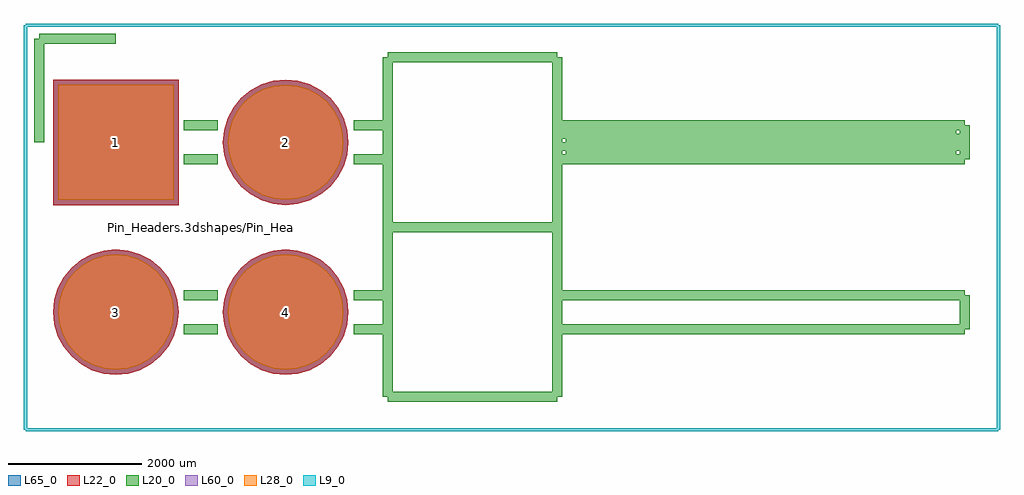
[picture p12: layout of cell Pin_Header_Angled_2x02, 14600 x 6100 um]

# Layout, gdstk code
import gdstk
lib = gdstk.Library(unit=1e-6, precision=1e-09)
def R(c, l, rs):  # rectangles x0, y0, x1, y1
    for r in rs: c.add(gdstk.rectangle(r[:2], r[2:], *l))
def P(c, l, *ps):  # polygons
    for p in ps: c.add(gdstk.Polygon(p, *l))
L9_0 = (9, 0)
L20_0 = (20, 0)
L22_0 = (22, 0)
L28_0 = (28, 0)
L60_0 = (60, 0)
L65_0 = (65, 0)

pin_header_angled_2x02 = lib.new_cell('Pin_Header_Angled_2x02')
R(pin_header_angled_2x02, L22_0, [(-938.6,-938.6,938.6,938.6)])
P(pin_header_angled_2x02, L22_0, [(3478.6,-2540),(3460.565,-2356.888),(3407.153,-2180.813),(3320.417,-2018.542),(3203.69,-1876.31),(3061.458,-1759.583),(2899.187,-1672.847),(2723.112,-1619.435),(2540,-1601.4),(2356.888,-1619.435),(2180.813,-1672.847),(2018.542,-1759.583),(1876.31,-1876.31),(1759.583,-2018.542),(1672.847,-2180.813),(1619.435,-2356.888),(1601.4,-2540),(1619.435,-2723.112),(1672.847,-2899.187),(1759.583,-3061.458),(1876.31,-3203.69),(2018.542,-3320.417),(2180.813,-3407.153),(2356.888,-3460.565),(2540,-3478.6),(2723.112,-3460.565),(2899.187,-3407.153),(3061.458,-3320.417),(3203.69,-3203.69),(3320.417,-3061.458),(3407.153,-2899.187),(3460.565,-2723.112)],
  [(938.6,-2540),(920.565,-2356.888),(867.153,-2180.813),(780.417,-2018.542),(663.69,-1876.31),(521.458,-1759.583),(359.187,-1672.847),(183.112,-1619.435),(0,-1601.4),(-183.112,-1619.435),(-359.187,-1672.847),(-521.458,-1759.583),(-663.69,-1876.31),(-780.417,-2018.542),(-867.153,-2180.813),(-920.565,-2356.888),(-938.6,-2540),(-920.565,-2723.112),(-867.153,-2899.187),(-780.417,-3061.458),(-663.69,-3203.69),(-521.458,-3320.417),(-359.187,-3407.153),(-183.112,-3460.565),(0,-3478.6),(183.112,-3460.565),(359.187,-3407.153),(521.458,-3320.417),(663.69,-3203.69),(780.417,-3061.458),(867.153,-2899.187),(920.565,-2723.112)],
  [(3478.6,0),(3460.565,183.112),(3407.153,359.187),(3320.417,521.458),(3203.69,663.69),(3061.458,780.417),(2899.187,867.153),(2723.112,920.565),(2540,938.6),(2356.888,920.565),(2180.813,867.153),(2018.542,780.417),(1876.31,663.69),(1759.583,521.458),(1672.847,359.187),(1619.435,183.112),(1601.4,0),(1619.435,-183.112),(1672.847,-359.187),(1759.583,-521.458),(1876.31,-663.69),(2018.542,-780.417),(2180.813,-867.153),(2356.888,-920.565),(2540,-938.6),(2723.112,-920.565),(2899.187,-867.153),(3061.458,-780.417),(3203.69,-663.69),(3320.417,-521.458),(3407.153,-359.187),(3460.565,-183.112)])
R(pin_header_angled_2x02, L28_0, [(-863.6,-863.6,863.6,863.6)])
P(pin_header_angled_2x02, L28_0, [(3403.6,-2540),(3387.006,-2371.52),(3337.862,-2209.515),(3258.057,-2060.21),(3150.657,-1929.343),(3019.79,-1821.943),(2870.485,-1742.138),(2708.48,-1692.994),(2540,-1676.4),(2371.52,-1692.994),(2209.515,-1742.138),(2060.21,-1821.943),(1929.343,-1929.343),(1821.943,-2060.21),(1742.138,-2209.515),(1692.994,-2371.52),(1676.4,-2540),(1692.994,-2708.48),(1742.138,-2870.485),(1821.943,-3019.79),(1929.343,-3150.657),(2060.21,-3258.057),(2209.515,-3337.862),(2371.52,-3387.006),(2540,-3403.6),(2708.48,-3387.006),(2870.485,-3337.862),(3019.79,-3258.057),(3150.657,-3150.657),(3258.057,-3019.79),(3337.862,-2870.485),(3387.006,-2708.48)],
  [(863.6,-2540),(847.006,-2371.52),(797.862,-2209.515),(718.057,-2060.21),(610.657,-1929.343),(479.79,-1821.943),(330.485,-1742.138),(168.48,-1692.994),(0,-1676.4),(-168.48,-1692.994),(-330.485,-1742.138),(-479.79,-1821.943),(-610.657,-1929.343),(-718.057,-2060.21),(-797.862,-2209.515),(-847.006,-2371.52),(-863.6,-2540),(-847.006,-2708.48),(-797.862,-2870.485),(-718.057,-3019.79),(-610.657,-3150.657),(-479.79,-3258.057),(-330.485,-3337.862),(-168.48,-3387.006),(0,-3403.6),(168.48,-3387.006),(330.485,-3337.862),(479.79,-3258.057),(610.657,-3150.657),(718.057,-3019.79),(797.862,-2870.485),(847.006,-2708.48)],
  [(3403.6,0),(3387.006,168.48),(3337.862,330.485),(3258.057,479.79),(3150.657,610.657),(3019.79,718.057),(2870.485,797.862),(2708.48,847.006),(2540,863.6),(2371.52,847.006),(2209.515,797.862),(2060.21,718.057),(1929.343,610.657),(1821.943,479.79),(1742.138,330.485),(1692.994,168.48),(1676.4,0),(1692.994,-168.48),(1742.138,-330.485),(1821.943,-479.79),(1929.343,-610.657),(2060.21,-718.057),(2209.515,-797.862),(2371.52,-847.006),(2540,-863.6),(2708.48,-847.006),(2870.485,-797.862),(3019.79,-718.057),(3150.657,-610.657),(3258.057,-479.79),(3337.862,-330.485),(3387.006,-168.48)])
R(pin_header_angled_2x02, L60_0, [(-863.6,-863.6,863.6,863.6)])
P(pin_header_angled_2x02, L60_0, [(3403.6,-2540),(3387.006,-2371.52),(3337.862,-2209.515),(3258.057,-2060.21),(3150.657,-1929.343),(3019.79,-1821.943),(2870.485,-1742.138),(2708.48,-1692.994),(2540,-1676.4),(2371.52,-1692.994),(2209.515,-1742.138),(2060.21,-1821.943),(1929.343,-1929.343),(1821.943,-2060.21),(1742.138,-2209.515),(1692.994,-2371.52),(1676.4,-2540),(1692.994,-2708.48),(1742.138,-2870.485),(1821.943,-3019.79),(1929.343,-3150.657),(2060.21,-3258.057),(2209.515,-3337.862),(2371.52,-3387.006),(2540,-3403.6),(2708.48,-3387.006),(2870.485,-3337.862),(3019.79,-3258.057),(3150.657,-3150.657),(3258.057,-3019.79),(3337.862,-2870.485),(3387.006,-2708.48)],
  [(863.6,-2540),(847.006,-2371.52),(797.862,-2209.515),(718.057,-2060.21),(610.657,-1929.343),(479.79,-1821.943),(330.485,-1742.138),(168.48,-1692.994),(0,-1676.4),(-168.48,-1692.994),(-330.485,-1742.138),(-479.79,-1821.943),(-610.657,-1929.343),(-718.057,-2060.21),(-797.862,-2209.515),(-847.006,-2371.52),(-863.6,-2540),(-847.006,-2708.48),(-797.862,-2870.485),(-718.057,-3019.79),(-610.657,-3150.657),(-479.79,-3258.057),(-330.485,-3337.862),(-168.48,-3387.006),(0,-3403.6),(168.48,-3387.006),(330.485,-3337.862),(479.79,-3258.057),(610.657,-3150.657),(718.057,-3019.79),(797.862,-2870.485),(847.006,-2708.48)],
  [(3403.6,0),(3387.006,168.48),(3337.862,330.485),(3258.057,479.79),(3150.657,610.657),(3019.79,718.057),(2870.485,797.862),(2708.48,847.006),(2540,863.6),(2371.52,847.006),(2209.515,797.862),(2060.21,718.057),(1929.343,610.657),(1821.943,479.79),(1742.138,330.485),(1692.994,168.48),(1676.4,0),(1692.994,-168.48),(1742.138,-330.485),(1821.943,-479.79),(1929.343,-610.657),(2060.21,-718.057),(2209.515,-797.862),(2371.52,-847.006),(2540,-863.6),(2708.48,-847.006),(2870.485,-797.862),(3019.79,-718.057),(3150.657,-610.657),(3258.057,-479.79),(3337.862,-330.485),(3387.006,-168.48)])
R(pin_header_angled_2x02, L65_0, [(-938.6,-938.6,938.6,938.6)])
P(pin_header_angled_2x02, L65_0, [(3478.6,-2540),(3460.565,-2356.888),(3407.153,-2180.813),(3320.417,-2018.542),(3203.69,-1876.31),(3061.458,-1759.583),(2899.187,-1672.847),(2723.112,-1619.435),(2540,-1601.4),(2356.888,-1619.435),(2180.813,-1672.847),(2018.542,-1759.583),(1876.31,-1876.31),(1759.583,-2018.542),(1672.847,-2180.813),(1619.435,-2356.888),(1601.4,-2540),(1619.435,-2723.112),(1672.847,-2899.187),(1759.583,-3061.458),(1876.31,-3203.69),(2018.542,-3320.417),(2180.813,-3407.153),(2356.888,-3460.565),(2540,-3478.6),(2723.112,-3460.565),(2899.187,-3407.153),(3061.458,-3320.417),(3203.69,-3203.69),(3320.417,-3061.458),(3407.153,-2899.187),(3460.565,-2723.112)],
  [(938.6,-2540),(920.565,-2356.888),(867.153,-2180.813),(780.417,-2018.542),(663.69,-1876.31),(521.458,-1759.583),(359.187,-1672.847),(183.112,-1619.435),(0,-1601.4),(-183.112,-1619.435),(-359.187,-1672.847),(-521.458,-1759.583),(-663.69,-1876.31),(-780.417,-2018.542),(-867.153,-2180.813),(-920.565,-2356.888),(-938.6,-2540),(-920.565,-2723.112),(-867.153,-2899.187),(-780.417,-3061.458),(-663.69,-3203.69),(-521.458,-3320.417),(-359.187,-3407.153),(-183.112,-3460.565),(0,-3478.6),(183.112,-3460.565),(359.187,-3407.153),(521.458,-3320.417),(663.69,-3203.69),(780.417,-3061.458),(867.153,-2899.187),(920.565,-2723.112)],
  [(3478.6,0),(3460.565,183.112),(3407.153,359.187),(3320.417,521.458),(3203.69,663.69),(3061.458,780.417),(2899.187,867.153),(2723.112,920.565),(2540,938.6),(2356.888,920.565),(2180.813,867.153),(2018.542,780.417),(1876.31,663.69),(1759.583,521.458),(1672.847,359.187),(1619.435,183.112),(1601.4,0),(1619.435,-183.112),(1672.847,-359.187),(1759.583,-521.458),(1876.31,-663.69),(2018.542,-780.417),(2180.813,-867.153),(2356.888,-920.565),(2540,-938.6),(2723.112,-920.565),(2899.187,-867.153),(3061.458,-780.417),(3203.69,-663.69),(3320.417,-521.458),(3407.153,-359.187),(3460.565,-183.112)])
pin_header_angled_2x02.add(gdstk.FlexPath([(4064,1270),(6604,1270)], 149.998, ends="flush", simple_path=True, layer=20, datatype=0))  # L20_0
pin_header_angled_2x02.add(gdstk.FlexPath([(4064,1270),(4064,-1270)], 149.998, ends="flush", simple_path=True, layer=20, datatype=0))  # L20_0
pin_header_angled_2x02.add(gdstk.FlexPath([(4064,-1270),(6604,-1270)], 149.998, ends="flush", simple_path=True, layer=20, datatype=0))  # L20_0
pin_header_angled_2x02.add(gdstk.FlexPath([(6604,254),(12700,254)], 149.998, ends="flush", simple_path=True, layer=20, datatype=0))  # L20_0
pin_header_angled_2x02.add(gdstk.FlexPath([(12700,254),(12700,-254)], 149.998, ends="flush", simple_path=True, layer=20, datatype=0))  # L20_0
pin_header_angled_2x02.add(gdstk.FlexPath([(12700,-254),(6604,-254)], 149.998, ends="flush", simple_path=True, layer=20, datatype=0))  # L20_0
pin_header_angled_2x02.add(gdstk.FlexPath([(6604,-1270),(6604,1270)], 149.998, ends="flush", simple_path=True, layer=20, datatype=0))  # L20_0
pin_header_angled_2x02.add(gdstk.FlexPath([(6604,-3810),(6604,-1270)], 149.998, ends="flush", simple_path=True, layer=20, datatype=0))  # L20_0
pin_header_angled_2x02.add(gdstk.FlexPath([(12700,-2794),(6604,-2794)], 149.998, ends="flush", simple_path=True, layer=20, datatype=0))  # L20_0
pin_header_angled_2x02.add(gdstk.FlexPath([(12700,-2286),(12700,-2794)], 149.998, ends="flush", simple_path=True, layer=20, datatype=0))  # L20_0
pin_header_angled_2x02.add(gdstk.FlexPath([(6604,-2286),(12700,-2286)], 149.998, ends="flush", simple_path=True, layer=20, datatype=0))  # L20_0
pin_header_angled_2x02.add(gdstk.FlexPath([(4064,-3810),(6604,-3810)], 149.998, ends="flush", simple_path=True, layer=20, datatype=0))  # L20_0
pin_header_angled_2x02.add(gdstk.FlexPath([(4064,-1270),(4064,-3810)], 149.998, ends="flush", simple_path=True, layer=20, datatype=0))  # L20_0
pin_header_angled_2x02.add(gdstk.FlexPath([(4064,-1270),(6604,-1270)], 149.998, ends="flush", simple_path=True, layer=20, datatype=0))  # L20_0
pin_header_angled_2x02.add(gdstk.FlexPath([(4064,-3810),(6604,-3810)], 149.998, ends="flush", simple_path=True, layer=20, datatype=0))  # L20_0
pin_header_angled_2x02.add(gdstk.FlexPath([(6731,0),(12573,0)], 149.998, ends="flush", simple_path=True, layer=20, datatype=0))  # L20_0
pin_header_angled_2x02.add(gdstk.FlexPath([(6731,-127),(6731,0)], 149.998, ends="flush", simple_path=True, layer=20, datatype=0))  # L20_0
pin_header_angled_2x02.add(gdstk.FlexPath([(12573,-127),(6731,-127)], 149.998, ends="flush", simple_path=True, layer=20, datatype=0))  # L20_0
pin_header_angled_2x02.add(gdstk.FlexPath([(12573,127),(12573,-127)], 149.998, ends="flush", simple_path=True, layer=20, datatype=0))  # L20_0
pin_header_angled_2x02.add(gdstk.FlexPath([(6604,127),(12573,127)], 149.998, ends="flush", simple_path=True, layer=20, datatype=0))  # L20_0
pin_header_angled_2x02.add(gdstk.FlexPath([(-1150,1550),(-1150,0)], 149.998, ends="flush", simple_path=True, layer=20, datatype=0))  # L20_0
pin_header_angled_2x02.add(gdstk.FlexPath([(0,1550),(-1150,1550)], 149.998, ends="flush", simple_path=True, layer=20, datatype=0))  # L20_0
pin_header_angled_2x02.add(gdstk.FlexPath([(4064,-2794),(3556,-2794)], 149.998, ends="flush", simple_path=True, layer=20, datatype=0))  # L20_0
pin_header_angled_2x02.add(gdstk.FlexPath([(4064,-2286),(3556,-2286)], 149.998, ends="flush", simple_path=True, layer=20, datatype=0))  # L20_0
pin_header_angled_2x02.add(gdstk.FlexPath([(4064,-254),(3556,-254)], 149.998, ends="flush", simple_path=True, layer=20, datatype=0))  # L20_0
pin_header_angled_2x02.add(gdstk.FlexPath([(4064,254),(3556,254)], 149.998, ends="flush", simple_path=True, layer=20, datatype=0))  # L20_0
pin_header_angled_2x02.add(gdstk.FlexPath([(1524,254),(1016,254)], 149.998, ends="flush", simple_path=True, layer=20, datatype=0))  # L20_0
pin_header_angled_2x02.add(gdstk.FlexPath([(1524,-254),(1016,-254)], 149.998, ends="flush", simple_path=True, layer=20, datatype=0))  # L20_0
pin_header_angled_2x02.add(gdstk.FlexPath([(1524,-2286),(1016,-2286)], 149.998, ends="flush", simple_path=True, layer=20, datatype=0))  # L20_0
pin_header_angled_2x02.add(gdstk.FlexPath([(1524,-2794),(1016,-2794)], 149.998, ends="flush", simple_path=True, layer=20, datatype=0))  # L20_0
pin_header_angled_2x02.add(gdstk.FlexPath([(-1350,-4300),(13200,-4300)], 50, ends="flush", simple_path=True, layer=9, datatype=0))  # L9_0
pin_header_angled_2x02.add(gdstk.FlexPath([(-1350,1750),(13200,1750)], 50, ends="flush", simple_path=True, layer=9, datatype=0))  # L9_0
pin_header_angled_2x02.add(gdstk.FlexPath([(13200,1750),(13200,-4300)], 50, ends="flush", simple_path=True, layer=9, datatype=0))  # L9_0
pin_header_angled_2x02.add(gdstk.FlexPath([(-1350,1750),(-1350,-4300)], 50, ends="flush", simple_path=True, layer=9, datatype=0))  # L9_0
pin_header_angled_2x02.add(gdstk.Label('Pin_Headers.3dshapes/Pin_Header_Angled_2x02.wrl', (1270,-1270), layer=12, texttype=0))
pin_header_angled_2x02.add(gdstk.Label('4', (2540,-2540), layer=28, texttype=0))
pin_header_angled_2x02.add(gdstk.Label('3', (0,-2540), layer=28, texttype=0))
pin_header_angled_2x02.add(gdstk.Label('2', (2540,0), layer=28, texttype=0))
pin_header_angled_2x02.add(gdstk.Label('1', (0,0), layer=28, texttype=0))
pin_header_angled_2x02.add(gdstk.Label('type', (0,3100), layer=9, texttype=0))
pin_header_angled_2x02.add(gdstk.Label('devicename', (0,5100), layer=9, texttype=0))

lib.write_gds('Pin_Header_Angled_2x02.gds')
